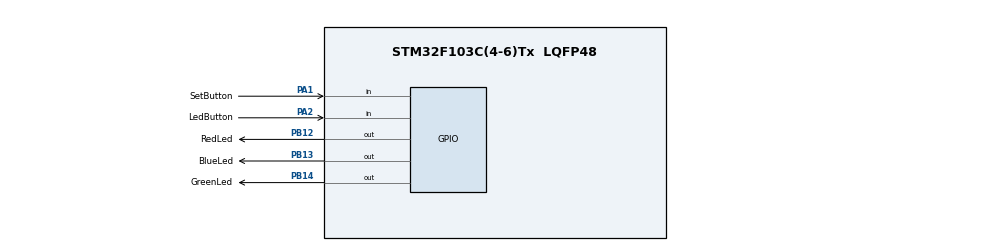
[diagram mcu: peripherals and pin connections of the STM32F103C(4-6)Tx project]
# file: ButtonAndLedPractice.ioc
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Mcu.Family=STM32F1
Mcu.Name=STM32F103C(4-6)Tx
Mcu.Package=LQFP48
NVIC.PriorityGroup=NVIC_PRIORITYGROUP_4
PA1.GPIO_Label=SetButton
PA1.GPIO_PuPd=GPIO_PULLDOWN
PA1.Signal=GPIO_Input
PA2.GPIO_Label=LedButton
PA2.GPIO_PuPd=GPIO_PULLDOWN
PA2.Signal=GPIO_Input
PB12.GPIO_Label=RedLed
PB12.GPIO_Speed=GPIO_SPEED_FREQ_MEDIUM
PB12.Signal=GPIO_Output
PB13.GPIO_Label=BlueLed
PB13.GPIO_Speed=GPIO_SPEED_FREQ_MEDIUM
PB13.Signal=GPIO_Output
PB14.GPIO_Label=GreenLed
PB14.GPIO_Speed=GPIO_SPEED_FREQ_MEDIUM
PB14.Signal=GPIO_Output
ProjectManager.HeapSize=0x200
ProjectManager.StackSize=0x400
ProjectManager.TargetToolchain=STM32CubeIDE
RCC.AHBCLKDivider=RCC_SYSCLK_DIV2
RCC.AHBFreq_Value=4000000
RCC.APB1Freq_Value=4000000
RCC.APB1TimFreq_Value=4000000
RCC.APB2Freq_Value=4000000
RCC.APB2TimFreq_Value=4000000
RCC.HCLKFreq_Value=4000000
VP_SYS_VS_ND.Mode=No_Debug
board=custom

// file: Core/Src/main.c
/* USER CODE BEGIN Header */
/**
  ******************************************************************************
  * @file           : main.c
  * @brief          : Main program body
  ******************************************************************************
  * @attention
  *
  * Copyright (c) 2025 STMicroelectronics.
  * All rights reserved.
  *
  * This software is licensed under terms that can be found in the LICENSE file
  * in the root directory of this software component.
  * If no LICENSE file comes with this software, it is provided AS-IS.
  *
  ******************************************************************************
  */
/* USER CODE END Header */
#include "main.h"

/* USER CODE BEGIN Includes */
#include "stdbool.h"

/* USER CODE END Includes */

/* USER CODE BEGIN PV */

uint8_t setButtonState;
uint8_t ledButtonState;
uint8_t prevSetButtonState = 0;

bool isStraight= true;
uint8_t ledOrder = 3;

/* USER CODE END PV */

void SystemClock_Config(void);
static void MX_GPIO_Init(void);

int main(void)
{

  /* MCU Configuration--------------------------------------------------------*/

  /* Reset of all peripherals, Initializes the Flash interface and the Systick. */
  HAL_Init();

  /* Configure the system clock */
  SystemClock_Config();

  /* Initialize all configured peripherals */
  MX_GPIO_Init();

  /* Infinite loop */
  while (1)
  {

    /* USER CODE BEGIN 3 */

	setButtonState = HAL_GPIO_ReadPin(SetButton_GPIO_Port, SetButton_Pin);
	ledButtonState = HAL_GPIO_ReadPin(LedButton_GPIO_Port, LedButton_Pin);
	HAL_Delay(400);
	if(ledButtonState){
		//1-2-3
		if(isStraight){
			if(ledOrder >= 3){
				ledOrder = 1;
			}else{
				ledOrder++;
			}

		}else{
			if(ledOrder <= 1){
				ledOrder = 3;
			}else{
				ledOrder--;
			}
		}
	}
	if(setButtonState && !prevSetButtonState){
		isStraight = !isStraight;
	}

	prevSetButtonState = setButtonState;

	switch(ledOrder){
	case 1:
		HAL_GPIO_WritePin(GPIOB,RedLed_Pin, 1);
		HAL_GPIO_WritePin(GPIOB,BlueLed_Pin, 0);
		HAL_GPIO_WritePin(GPIOB,GreenLed_Pin, 0);
		break;
	case 2:
		HAL_GPIO_WritePin(GPIOB,RedLed_Pin, 0);
		HAL_GPIO_WritePin(GPIOB,BlueLed_Pin, 1);
		HAL_GPIO_WritePin(GPIOB,GreenLed_Pin, 0);
		break;
	case 3:
		HAL_GPIO_WritePin(GPIOB,RedLed_Pin, 0);
		HAL_GPIO_WritePin(GPIOB,BlueLed_Pin, 0);
		HAL_GPIO_WritePin(GPIOB,GreenLed_Pin, 1);
		break;

	}

  }

  /* USER CODE END 3 */
}

void SystemClock_Config(void)
{
  RCC_OscInitTypeDef RCC_OscInitStruct = {0};
  RCC_ClkInitTypeDef RCC_ClkInitStruct = {0};

  /** Initializes the RCC Oscillators according to the specified parameters
  * in the RCC_OscInitTypeDef structure.
  */
  RCC_OscInitStruct.OscillatorType = RCC_OSCILLATORTYPE_HSI;
  RCC_OscInitStruct.HSIState = RCC_HSI_ON;
  RCC_OscInitStruct.HSICalibrationValue = RCC_HSICALIBRATION_DEFAULT;
  RCC_OscInitStruct.PLL.PLLState = RCC_PLL_NONE;
  if (HAL_RCC_OscConfig(&RCC_OscInitStruct) != HAL_OK)
  {
    Error_Handler();
  }

  /** Initializes the CPU, AHB and APB buses clocks
  */
  RCC_ClkInitStruct.ClockType = RCC_CLOCKTYPE_HCLK|RCC_CLOCKTYPE_SYSCLK
                              |RCC_CLOCKTYPE_PCLK1|RCC_CLOCKTYPE_PCLK2;
  RCC_ClkInitStruct.SYSCLKSource = RCC_SYSCLKSOURCE_HSI;
  RCC_ClkInitStruct.AHBCLKDivider = RCC_SYSCLK_DIV2;
  RCC_ClkInitStruct.APB1CLKDivider = RCC_HCLK_DIV1;
  RCC_ClkInitStruct.APB2CLKDivider = RCC_HCLK_DIV1;

  if (HAL_RCC_ClockConfig(&RCC_ClkInitStruct, FLASH_LATENCY_0) != HAL_OK)
  {
    Error_Handler();
  }
}

static void MX_GPIO_Init(void)
{
  GPIO_InitTypeDef GPIO_InitStruct = {0};

  /* GPIO Ports Clock Enable */
  __HAL_RCC_GPIOA_CLK_ENABLE();
  __HAL_RCC_GPIOB_CLK_ENABLE();

  /*Configure GPIO pin Output Level */
  HAL_GPIO_WritePin(GPIOB, RedLed_Pin|BlueLed_Pin|GreenLed_Pin, GPIO_PIN_RESET);

  /*Configure GPIO pins : SetButton_Pin LedButton_Pin */
  GPIO_InitStruct.Pin = SetButton_Pin|LedButton_Pin;
  GPIO_InitStruct.Mode = GPIO_MODE_INPUT;
  GPIO_InitStruct.Pull = GPIO_PULLDOWN;
  HAL_GPIO_Init(GPIOA, &GPIO_InitStruct);

  /*Configure GPIO pins : RedLed_Pin BlueLed_Pin GreenLed_Pin */
  GPIO_InitStruct.Pin = RedLed_Pin|BlueLed_Pin|GreenLed_Pin;
  GPIO_InitStruct.Mode = GPIO_MODE_OUTPUT_PP;
  GPIO_InitStruct.Pull = GPIO_NOPULL;
  GPIO_InitStruct.Speed = GPIO_SPEED_FREQ_MEDIUM;
  HAL_GPIO_Init(GPIOB, &GPIO_InitStruct);

}

void Error_Handler(void)
{
  __disable_irq();
  while (1)
  {
  }
}
